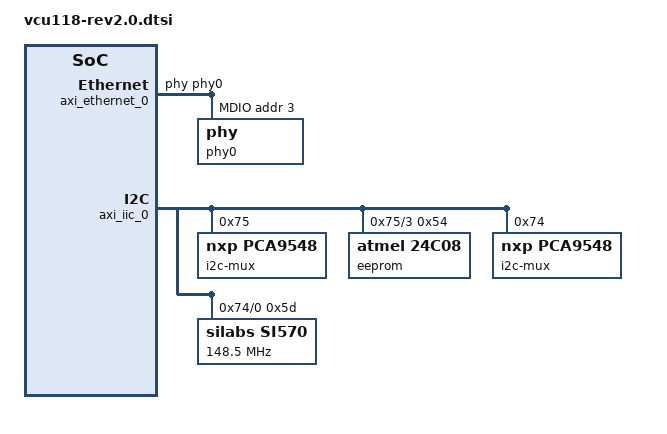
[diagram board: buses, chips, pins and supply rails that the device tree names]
&axi_ethernet_0 {
	phy-handle = <&phy0>;
	/delete-node/ mdio;
	axi_ethernet_mdio: mdio {
		#address-cells = <1>;
		#size-cells = <0>;
		phy0: phy@3 {
			device_type = "ethernet-phy";
			ti,6-wire-mode;
			ti,dp83867-rxctrl-strap-quirk;
			ti,rx-internal-delay = <0x8>;
			ti,tx-internal-delay = <0xa>;
			ti,fifo-depth = <0x1>;
			reg = <3>;
		};
	};
};

&axi_iic_0 {
	#address-cells = <1>;
	#size-cells = <0>;
	i2c-mux@75 {
		compatible = "nxp,pca9548";
		#address-cells = <1>;
		#size-cells = <0>;
		reg = <0x75>;
		i2c@3 {
			#address-cells = <1>;
			#size-cells = <0>;
			reg = <3>;
			eeprom@54 {
				compatible = "atmel,24c08";
				reg = <0x54>;
			};
		};
	};
	i2c-mux@74 {
		compatible = "nxp,pca9548";
		#address-cells = <1>;
		#size-cells = <0>;
		reg = <0x74>;
		i2c@0 {
			#address-cells = <1>;
			#size-cells = <0>;
			reg = <0>;
			si570: clock-generator@5d {
				#clock-cells = <0>;
				compatible = "silabs,si570";
				temperature-stability = <50>;
				reg = <0x5d>;
				factory-fout = <156250000>;
				clock-frequency = <148500000>;
			};
		};
	};
};
